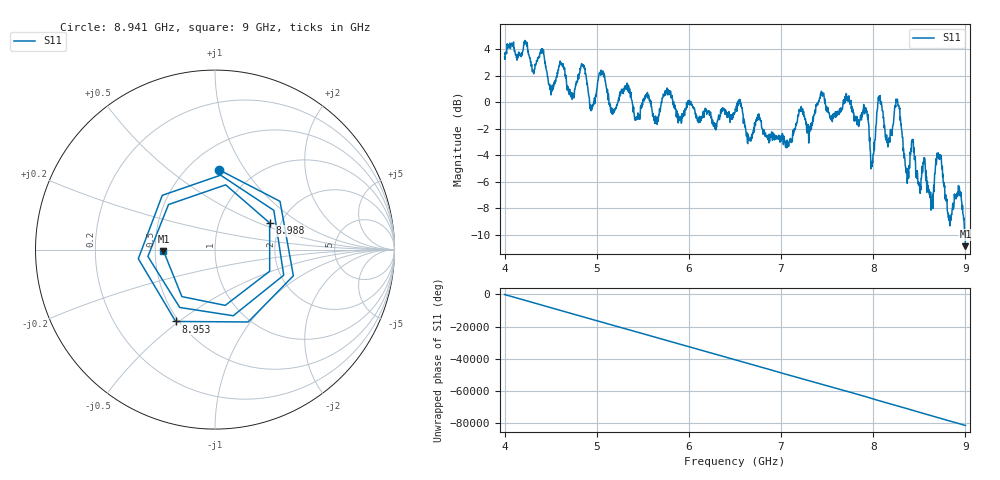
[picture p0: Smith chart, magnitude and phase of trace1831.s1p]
! Created with skrf 1.8.0 (http://scikit-rf.org).
# Hz S RI R 50.0
!freq ReS11 ImS11
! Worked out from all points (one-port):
!   1601 points, 4 GHz to 9 GHz, reference 50 ohm
!   lowest |S11| = -10.8 dB at 9 GHz (marker M1), VSWR 1.81, Z = 27.7 - j0.456 ohm
!   |S11| at or under -10 dB: 8.993942 GHz to 8.994154 GHz (212.7 kHz wide, 0.00236 % of centre); 8.997355 GHz to end of sweep
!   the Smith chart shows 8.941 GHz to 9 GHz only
!   S11 on the Smith chart (normalised r, x): 8.941 GHz: 0.70, +0.77; 8.953 GHz: 0.48, -0.49; 8.988 GHz: 1.75, +0.59; 9 GHz: 0.55, -0.01
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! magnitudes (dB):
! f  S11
! 4 GHz  3.4
! 4.406 GHz  4.0
! 4.509 GHz  0.9
! 4.625 GHz  2.9
! 4.731 GHz  0.2
! 4.853 GHz  2.7
! 4.947 GHz  -0.3
! 5.05 GHz  2.2
! 5.169 GHz  -0.8
! 5.25 GHz  0.5
! 5.875 GHz  -1.2
! 6.5 GHz  -0.8
! 7.125 GHz  -2.4
! 7.75 GHz  0.0
! 7.919 GHz  -0.4
! 7.991 GHz  -4.4
! 8.062 GHz  0.2
! 8.156 GHz  -3.1
! 8.262 GHz  0.2
! 8.375 GHz  -5.2
! 8.431 GHz  -3.0
! 8.634 GHz  -7.6
! 8.712 GHz  -3.9
! 8.828 GHz  -9.0
! 8.941 GHz  -7.0
! 8.953 GHz  -6.8
! 8.988 GHz  -9.4
! 9 GHz  -10.8
